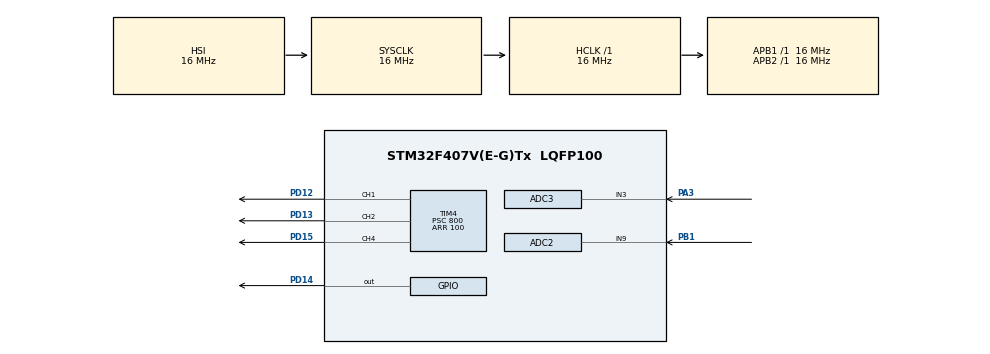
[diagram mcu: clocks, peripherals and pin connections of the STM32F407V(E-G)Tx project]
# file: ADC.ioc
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ADC1.Channel-0\#ChannelRegularConversion=ADC_CHANNEL_TEMPSENSOR
ADC1.ContinuousConvMode=ENABLE
ADC1.NbrOfConversionFlag=1
ADC1.Rank-0\#ChannelRegularConversion=1
ADC1.SamplingTime-0\#ChannelRegularConversion=ADC_SAMPLETIME_480CYCLES
ADC1.master=1
ADC2.Channel-0\#ChannelRegularConversion=ADC_CHANNEL_9
ADC2.ContinuousConvMode=ENABLE
ADC2.NbrOfConversionFlag=1
ADC2.Rank-0\#ChannelRegularConversion=1
ADC2.SamplingTime-0\#ChannelRegularConversion=ADC_SAMPLETIME_480CYCLES
ADC3.Channel-0\#ChannelRegularConversion=ADC_CHANNEL_3
ADC3.ContinuousConvMode=ENABLE
ADC3.NbrOfConversionFlag=1
ADC3.Rank-0\#ChannelRegularConversion=1
ADC3.SamplingTime-0\#ChannelRegularConversion=ADC_SAMPLETIME_480CYCLES
Mcu.Family=STM32F4
Mcu.Name=STM32F407V(E-G)Tx
Mcu.Package=LQFP100
NVIC.PriorityGroup=NVIC_PRIORITYGROUP_4
NVIC.TIM4_IRQn=true\:0\:0\:false\:false\:true\:true\:true\:true
PA3.Signal=ADCx_IN3
PB1.Signal=ADCx_IN9
PD12.Signal=S_TIM4_CH1
PD13.Signal=S_TIM4_CH2
PD14.Signal=GPIO_Output
PD15.Signal=S_TIM4_CH4
ProjectManager.HeapSize=0x200
ProjectManager.StackSize=0x400
ProjectManager.TargetToolchain=STM32CubeIDE
RCC.AHBFreq_Value=16000000
RCC.APB1Freq_Value=16000000
RCC.APB2Freq_Value=16000000
RCC.CortexFreq_Value=16000000
RCC.HSE_VALUE=25000000
RCC.HSI_VALUE=16000000
RCC.LSE_VALUE=32768
RCC.SYSCLKFreq_VALUE=16000000
RCC.VCOOutputFreq_Value=192000000
SH.ADCx_IN3.0=ADC3_IN3,IN3
SH.ADCx_IN9.0=ADC2_IN9,IN9
SH.S_TIM4_CH1.0=TIM4_CH1,PWM Generation1 CH1
SH.S_TIM4_CH2.0=TIM4_CH2,PWM Generation2 CH2
SH.S_TIM4_CH4.0=TIM4_CH4,PWM Generation4 CH4
TIM4.Channel-PWM\ Generation1\ CH1=TIM_CHANNEL_1
TIM4.Channel-PWM\ Generation2\ CH2=TIM_CHANNEL_2
TIM4.Channel-PWM\ Generation4\ CH4=TIM_CHANNEL_4
TIM4.Period=100
TIM4.Prescaler=800
VP_ADC1_TempSens_Input.Mode=IN-TempSens
board=custom

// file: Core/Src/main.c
/* USER CODE BEGIN Header */
/**
  ******************************************************************************
  * @file           : main.c
  * @brief          : Main program body
  ******************************************************************************
  * @attention
  *
  * Copyright (c) 2023 STMicroelectronics.
  * All rights reserved.
  *
  * This software is licensed under terms that can be found in the LICENSE file
  * in the root directory of this software component.
  * If no LICENSE file comes with this software, it is provided AS-IS.
  *
  ******************************************************************************
  */
/* USER CODE END Header */
#include "main.h"

/* USER CODE BEGIN PTD */
uint32_t MAP(uint32_t au32_IN, uint32_t au32_INmin, uint32_t au32_INmax, uint32_t au32_OUTmin, uint32_t au32_OUTmax)
{
    return ((((au32_IN - au32_INmin)*(au32_OUTmax - au32_OUTmin))/(au32_INmax - au32_INmin)) + au32_OUTmin);
}
/* USER CODE END PTD */

ADC_HandleTypeDef hadc1;
ADC_HandleTypeDef hadc2;
ADC_HandleTypeDef hadc3;

TIM_HandleTypeDef htim4;

void SystemClock_Config(void);
static void MX_GPIO_Init(void);
static void MX_ADC1_Init(void);
static void MX_TIM4_Init(void);
static void MX_ADC2_Init(void);
static void MX_ADC3_Init(void);

int main(void)
{

  /* MCU Configuration--------------------------------------------------------*/

  /* Reset of all peripherals, Initializes the Flash interface and the Systick. */
  HAL_Init();

  /* Configure the system clock */
  SystemClock_Config();

  /* Initialize all configured peripherals */
  MX_GPIO_Init();
  MX_ADC1_Init();
  MX_TIM4_Init();
  MX_ADC2_Init();
  MX_ADC3_Init();

  /* Infinite loop */
  /* USER CODE BEGIN WHILE */

  uint32_t adc_pot_Value = 0;
  uint32_t adc_temp_Value = 0;
  uint32_t adc_inTemp_Value = 0;
  uint32_t  timme = 0;
  uint16_t  del;
  int8_t duty = 100;
  uint8_t emergency[3];
  uint8_t sum = 0;

  volatile HAL_StatusTypeDef adc1PoolResult;
  volatile HAL_StatusTypeDef adc2PoolResult;
  volatile HAL_StatusTypeDef adc3PoolResult;
  //HAL_ADC_Start(&hadc1);

  HAL_TIM_Base_Start_IT(&htim4);
  HAL_TIM_PWM_Start(&htim4, TIM_CHANNEL_4);
  HAL_TIM_PWM_Start(&htim4, TIM_CHANNEL_2);
  HAL_TIM_PWM_Start(&htim4, TIM_CHANNEL_1);

  while (1)
  {
	  HAL_ADC_Start(&hadc1);
	  HAL_ADC_Start(&hadc2);
	  HAL_ADC_Start(&hadc3);

	  adc1PoolResult = HAL_ADC_PollForConversion(&hadc1, 100);
	  adc2PoolResult = HAL_ADC_PollForConversion(&hadc2, 100);
	  adc3PoolResult = HAL_ADC_PollForConversion(&hadc3, 100);

	  if(adc1PoolResult == HAL_OK){
	  	adc_inTemp_Value = HAL_ADC_GetValue(&hadc1);
	  	duty = MAP(adc_inTemp_Value, 1050, 1150, 0, 100);
	  	TIM4->CCR1 = duty;
	  	if(adc_inTemp_Value > 1090){
	  		emergency[0] = 1;
	  	}
	  	else{
	  		emergency[0] = 0;
	  	}
	  }

	  if(adc2PoolResult == HAL_OK){
		  adc_temp_Value = HAL_ADC_GetValue(&hadc2);
		  duty = MAP(adc_temp_Value, 1800, 2050, 0, 100);
		  TIM4->CCR2 = 100 - duty;
		  if(adc_temp_Value < 1900){
		  	emergency[1] = 1;
		  }
		  else{
		  	emergency[1] = 0;
		  }
	  }

	  if(adc3PoolResult == HAL_OK){
		  adc_pot_Value = HAL_ADC_GetValue(&hadc3);
		  duty = MAP(adc_pot_Value, 0, 4095, 0, 100);
		  TIM4->CCR4 = duty;
		  if(adc_pot_Value > 3500){
		  	emergency[2] = 1;
		  }
		  else{
		  	emergency[2] = 0;
		  }
	  }

	  sum = emergency[0] + emergency[1] + emergency[2];

	  switch(sum){
	  	  case 0:
	  		  del = 0;
	  		  HAL_GPIO_WritePin(GPIOD, GPIO_PIN_14, GPIO_PIN_RESET);
	  		  break;
	  	  case 1:
	  		  del = 500;
	  		  break;
	  	  case 2:
	  		  del = 200;
	  		  break;
	  	  case 3:
	  		  del = 100;
	  		  break;
	  }

	  if(del != 0 && (HAL_GetTick() - timme) > del){
		 HAL_GPIO_TogglePin(GPIOD, GPIO_PIN_14);
	     timme = HAL_GetTick();
	  }

    /* USER CODE END WHILE */

  }
}

void SystemClock_Config(void)
{
  RCC_OscInitTypeDef RCC_OscInitStruct = {0};
  RCC_ClkInitTypeDef RCC_ClkInitStruct = {0};

  /** Configure the main internal regulator output voltage
  */
  __HAL_RCC_PWR_CLK_ENABLE();
  __HAL_PWR_VOLTAGESCALING_CONFIG(PWR_REGULATOR_VOLTAGE_SCALE1);

  /** Initializes the RCC Oscillators according to the specified parameters
  * in the RCC_OscInitTypeDef structure.
  */
  RCC_OscInitStruct.OscillatorType = RCC_OSCILLATORTYPE_HSI;
  RCC_OscInitStruct.HSIState = RCC_HSI_ON;
  RCC_OscInitStruct.HSICalibrationValue = RCC_HSICALIBRATION_DEFAULT;
  RCC_OscInitStruct.PLL.PLLState = RCC_PLL_NONE;
  if (HAL_RCC_OscConfig(&RCC_OscInitStruct) != HAL_OK)
  {
    Error_Handler();
  }

  /** Initializes the CPU, AHB and APB buses clocks
  */
  RCC_ClkInitStruct.ClockType = RCC_CLOCKTYPE_HCLK|RCC_CLOCKTYPE_SYSCLK
                              |RCC_CLOCKTYPE_PCLK1|RCC_CLOCKTYPE_PCLK2;
  RCC_ClkInitStruct.SYSCLKSource = RCC_SYSCLKSOURCE_HSI;
  RCC_ClkInitStruct.AHBCLKDivider = RCC_SYSCLK_DIV1;
  RCC_ClkInitStruct.APB1CLKDivider = RCC_HCLK_DIV1;
  RCC_ClkInitStruct.APB2CLKDivider = RCC_HCLK_DIV1;

  if (HAL_RCC_ClockConfig(&RCC_ClkInitStruct, FLASH_LATENCY_0) != HAL_OK)
  {
    Error_Handler();
  }
}

static void MX_ADC1_Init(void)
{

  ADC_ChannelConfTypeDef sConfig = {0};

  /** Configure the global features of the ADC (Clock, Resolution, Data Alignment and number of conversion)
  */
  hadc1.Instance = ADC1;
  hadc1.Init.ClockPrescaler = ADC_CLOCK_SYNC_PCLK_DIV2;
  hadc1.Init.Resolution = ADC_RESOLUTION_12B;
  hadc1.Init.ScanConvMode = DISABLE;
  hadc1.Init.ContinuousConvMode = ENABLE;
  hadc1.Init.DiscontinuousConvMode = DISABLE;
  hadc1.Init.ExternalTrigConvEdge = ADC_EXTERNALTRIGCONVEDGE_NONE;
  hadc1.Init.ExternalTrigConv = ADC_SOFTWARE_START;
  hadc1.Init.DataAlign = ADC_DATAALIGN_RIGHT;
  hadc1.Init.NbrOfConversion = 1;
  hadc1.Init.DMAContinuousRequests = DISABLE;
  hadc1.Init.EOCSelection = ADC_EOC_SINGLE_CONV;
  if (HAL_ADC_Init(&hadc1) != HAL_OK)
  {
    Error_Handler();
  }

  /** Configure for the selected ADC regular channel its corresponding rank in the sequencer and its sample time.
  */
  sConfig.Channel = ADC_CHANNEL_TEMPSENSOR;
  sConfig.Rank = 1;
  sConfig.SamplingTime = ADC_SAMPLETIME_480CYCLES;
  if (HAL_ADC_ConfigChannel(&hadc1, &sConfig) != HAL_OK)
  {
    Error_Handler();
  }

}

static void MX_ADC2_Init(void)
{

  ADC_ChannelConfTypeDef sConfig = {0};

  /** Configure the global features of the ADC (Clock, Resolution, Data Alignment and number of conversion)
  */
  hadc2.Instance = ADC2;
  hadc2.Init.ClockPrescaler = ADC_CLOCK_SYNC_PCLK_DIV2;
  hadc2.Init.Resolution = ADC_RESOLUTION_12B;
  hadc2.Init.ScanConvMode = DISABLE;
  hadc2.Init.ContinuousConvMode = ENABLE;
  hadc2.Init.DiscontinuousConvMode = DISABLE;
  hadc2.Init.ExternalTrigConvEdge = ADC_EXTERNALTRIGCONVEDGE_NONE;
  hadc2.Init.ExternalTrigConv = ADC_SOFTWARE_START;
  hadc2.Init.DataAlign = ADC_DATAALIGN_RIGHT;
  hadc2.Init.NbrOfConversion = 1;
  hadc2.Init.DMAContinuousRequests = DISABLE;
  hadc2.Init.EOCSelection = ADC_EOC_SINGLE_CONV;
  if (HAL_ADC_Init(&hadc2) != HAL_OK)
  {
    Error_Handler();
  }

  /** Configure for the selected ADC regular channel its corresponding rank in the sequencer and its sample time.
  */
  sConfig.Channel = ADC_CHANNEL_9;
  sConfig.Rank = 1;
  sConfig.SamplingTime = ADC_SAMPLETIME_480CYCLES;
  if (HAL_ADC_ConfigChannel(&hadc2, &sConfig) != HAL_OK)
  {
    Error_Handler();
  }

}

static void MX_ADC3_Init(void)
{

  ADC_ChannelConfTypeDef sConfig = {0};

  /** Configure the global features of the ADC (Clock, Resolution, Data Alignment and number of conversion)
  */
  hadc3.Instance = ADC3;
  hadc3.Init.ClockPrescaler = ADC_CLOCK_SYNC_PCLK_DIV2;
  hadc3.Init.Resolution = ADC_RESOLUTION_12B;
  hadc3.Init.ScanConvMode = DISABLE;
  hadc3.Init.ContinuousConvMode = ENABLE;
  hadc3.Init.DiscontinuousConvMode = DISABLE;
  hadc3.Init.ExternalTrigConvEdge = ADC_EXTERNALTRIGCONVEDGE_NONE;
  hadc3.Init.ExternalTrigConv = ADC_SOFTWARE_START;
  hadc3.Init.DataAlign = ADC_DATAALIGN_RIGHT;
  hadc3.Init.NbrOfConversion = 1;
  hadc3.Init.DMAContinuousRequests = DISABLE;
  hadc3.Init.EOCSelection = ADC_EOC_SINGLE_CONV;
  if (HAL_ADC_Init(&hadc3) != HAL_OK)
  {
    Error_Handler();
  }

  /** Configure for the selected ADC regular channel its corresponding rank in the sequencer and its sample time.
  */
  sConfig.Channel = ADC_CHANNEL_3;
  sConfig.Rank = 1;
  sConfig.SamplingTime = ADC_SAMPLETIME_480CYCLES;
  if (HAL_ADC_ConfigChannel(&hadc3, &sConfig) != HAL_OK)
  {
    Error_Handler();
  }

}

static void MX_TIM4_Init(void)
{

  TIM_MasterConfigTypeDef sMasterConfig = {0};
  TIM_OC_InitTypeDef sConfigOC = {0};

  htim4.Instance = TIM4;
  htim4.Init.Prescaler = 800;
  htim4.Init.CounterMode = TIM_COUNTERMODE_UP;
  htim4.Init.Period = 100;
  htim4.Init.ClockDivision = TIM_CLOCKDIVISION_DIV1;
  htim4.Init.AutoReloadPreload = TIM_AUTORELOAD_PRELOAD_DISABLE;
  if (HAL_TIM_PWM_Init(&htim4) != HAL_OK)
  {
    Error_Handler();
  }
  sMasterConfig.MasterOutputTrigger = TIM_TRGO_RESET;
  sMasterConfig.MasterSlaveMode = TIM_MASTERSLAVEMODE_DISABLE;
  if (HAL_TIMEx_MasterConfigSynchronization(&htim4, &sMasterConfig) != HAL_OK)
  {
    Error_Handler();
  }
  sConfigOC.OCMode = TIM_OCMODE_PWM1;
  sConfigOC.Pulse = 0;
  sConfigOC.OCPolarity = TIM_OCPOLARITY_HIGH;
  sConfigOC.OCFastMode = TIM_OCFAST_DISABLE;
  if (HAL_TIM_PWM_ConfigChannel(&htim4, &sConfigOC, TIM_CHANNEL_1) != HAL_OK)
  {
    Error_Handler();
  }
  if (HAL_TIM_PWM_ConfigChannel(&htim4, &sConfigOC, TIM_CHANNEL_2) != HAL_OK)
  {
    Error_Handler();
  }
  if (HAL_TIM_PWM_ConfigChannel(&htim4, &sConfigOC, TIM_CHANNEL_4) != HAL_OK)
  {
    Error_Handler();
  }
  HAL_TIM_MspPostInit(&htim4);

}

static void MX_GPIO_Init(void)
{
  GPIO_InitTypeDef GPIO_InitStruct = {0};

  /* GPIO Ports Clock Enable */
  __HAL_RCC_GPIOA_CLK_ENABLE();
  __HAL_RCC_GPIOB_CLK_ENABLE();
  __HAL_RCC_GPIOD_CLK_ENABLE();

  /*Configure GPIO pin Output Level */
  HAL_GPIO_WritePin(GPIOD, GPIO_PIN_14, GPIO_PIN_RESET);

  /*Configure GPIO pin : PD14 */
  GPIO_InitStruct.Pin = GPIO_PIN_14;
  GPIO_InitStruct.Mode = GPIO_MODE_OUTPUT_PP;
  GPIO_InitStruct.Pull = GPIO_NOPULL;
  GPIO_InitStruct.Speed = GPIO_SPEED_FREQ_LOW;
  HAL_GPIO_Init(GPIOD, &GPIO_InitStruct);

}

void Error_Handler(void)
{
  __disable_irq();
  while (1)
  {
  }
}
